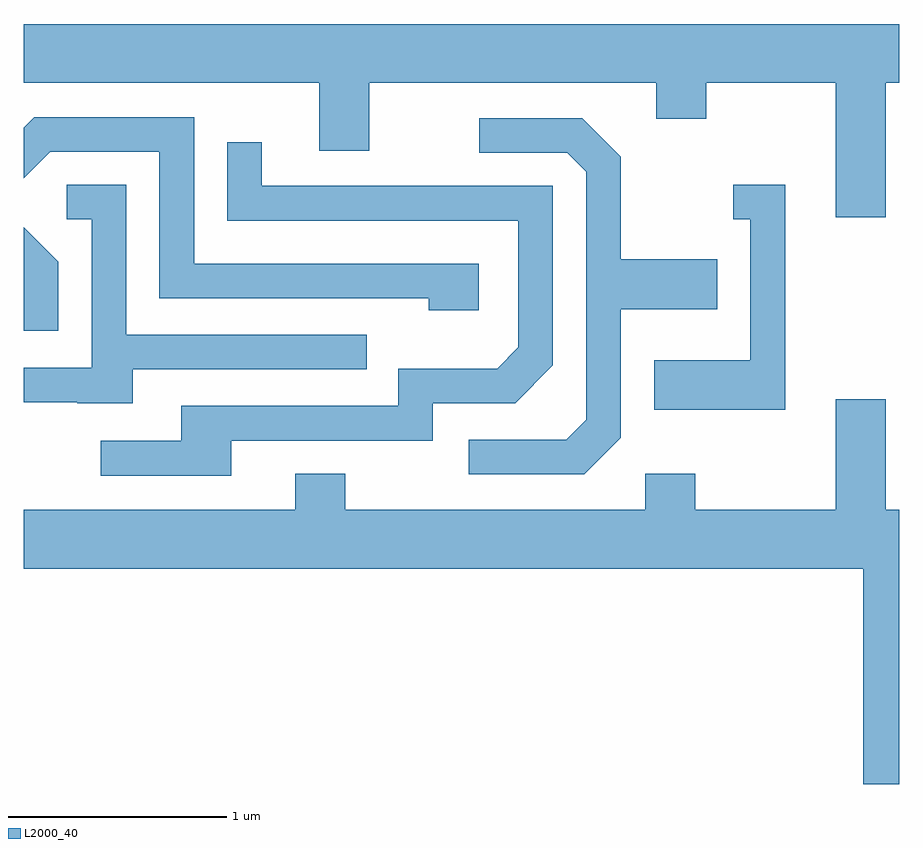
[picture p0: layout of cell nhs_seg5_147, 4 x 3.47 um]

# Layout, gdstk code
import gdstk
lib = gdstk.Library(unit=1e-6, precision=1e-09)
def P(c, l, *ps):  # polygons
    for p in ps: c.add(gdstk.Polygon(p, *l))
L2000_40 = (2000, 40)

nhs_seg5_147 = lib.new_cell('nhs_seg5_147')
P(nhs_seg5_147, L2000_40, [(193.549,1421.276),(193.611,1421.276),(193.611,1421.544),(189.611,1421.544),(189.611,1421.276),(190.961,1421.276),(190.961,1420.966),(191.189,1420.966),(191.189,1421.276),(192.501,1421.276),(192.501,1421.111),(192.729,1421.111),(192.729,1421.276),(193.321,1421.276),(193.321,1420.661),(193.549,1420.661)],
  [(191.689,1420.449),(190.389,1420.449),(190.389,1421.119),(189.659,1421.119),(189.611,1421.071),(189.611,1420.84),(189.732,1420.961),(190.231,1420.961),(190.231,1420.291),(191.461,1420.291),(191.461,1420.236),(191.689,1420.236)],
  [(192.339,1419.654),(192.339,1420.241),(192.779,1420.241),(192.779,1420.469),(192.339,1420.469),(192.339,1420.937),(192.162,1421.114),(191.693,1421.114),(191.693,1420.956),(192.094,1420.956),(192.181,1420.869),(192.181,1419.737),(192.089,1419.644),(191.643,1419.644),(191.643,1419.486),(192.172,1419.486)],
  [(190.559,1419.641),(191.479,1419.641),(191.479,1419.811),(191.857,1419.811),(192.029,1419.984),(192.029,1420.804),(190.699,1420.804),(190.699,1421.003),(190.541,1421.003),(190.541,1420.646),(191.871,1420.646),(191.871,1420.067),(191.774,1419.969),(191.321,1419.969),(191.321,1419.799),(190.331,1419.799),(190.331,1419.639),(189.963,1419.639),(189.963,1419.481),(190.559,1419.481)],
  [(193.089,1420.809),(192.853,1420.809),(192.853,1420.651),(192.931,1420.651),(192.931,1420.009),(192.491,1420.009),(192.491,1419.781),(193.089,1419.781)],
  [(190.109,1419.966),(191.178,1419.966),(191.178,1420.124),(190.079,1420.124),(190.079,1420.809),(189.808,1420.809),(189.808,1420.651),(189.921,1420.651),(189.921,1419.974),(189.611,1419.974),(189.611,1419.816),(189.855,1419.816),(189.855,1419.811),(190.109,1419.811)],
  [(189.769,1420.457),(189.611,1420.615),(189.611,1420.143),(189.769,1420.143)],
  [(193.611,1419.324),(193.549,1419.324),(193.549,1419.829),(193.321,1419.829),(193.321,1419.324),(192.679,1419.324),(192.679,1419.489),(192.451,1419.489),(192.451,1419.324),(191.079,1419.324),(191.079,1419.489),(190.851,1419.489),(190.851,1419.324),(189.611,1419.324),(189.611,1419.056),(193.446,1419.056),(193.446,1418.072),(193.611,1418.072)])

lib.write_gds('nhs_seg5_147.gds')
